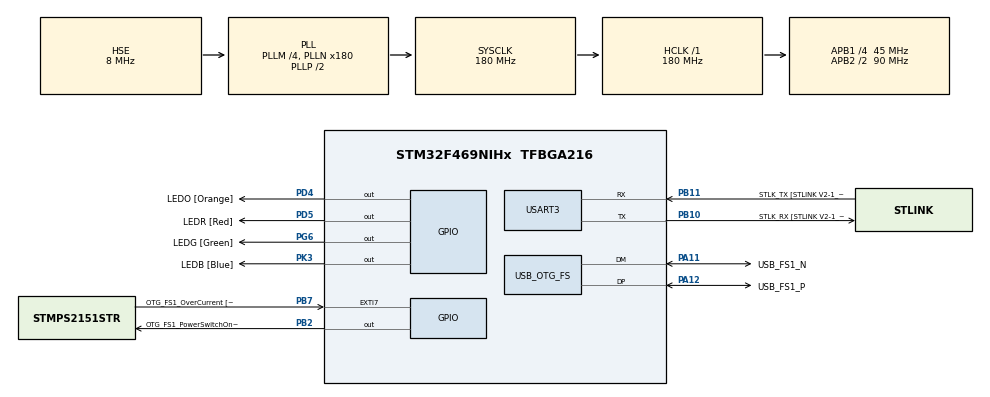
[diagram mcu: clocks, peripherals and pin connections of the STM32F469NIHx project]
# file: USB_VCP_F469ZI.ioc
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Mcu.Family=STM32F4
PA11.GPIO_Speed=GPIO_SPEED_FREQ_VERY_HIGH
USB_DEVICE.CLASS_NAME_FS=CDC
PK3.Signal=GPIO_Output
VP_SYS_VS_tim6.Mode=TIM6
RCC.CortexFreq_Value=180000000
PG6.Signal=GPIO_Output
RCC.PLLDSIIDF=DSI_PLL_IN_DIV2
PB10.GPIO_Speed=GPIO_SPEED_FREQ_VERY_HIGH
PB10.GPIO_PuPd=GPIO_PULLUP
PB10.Mode=Asynchronous
NVIC.TIM6_DAC_IRQn=true\:0\:0\:false\:false\:true\:false\:true
PA14.GPIO_Label=SWCLK
PG6.GPIO_Label=LEDG [Green]
PA11.Mode=Device_Only
PA0/WKUP.Signal=SYS_WKUP
PC14/OSC32_IN.Mode=LSE-External-Oscillator
USB_DEVICE.VirtualMode-CDC_FS=Cdc
PA11.GPIO_PuPd=GPIO_NOPULL
PB11.GPIO_PuPd=GPIO_PULLUP
PB7.GPIO_ModeDefaultEXTI=GPIO_MODE_IT_RISING
PB11.Signal=USART3_RX
RCC.SYSCLKSource=RCC_SYSCLKSOURCE_PLLCLK
ProjectManager.StackSize=0x400
PB11.GPIO_Speed=GPIO_SPEED_FREQ_VERY_HIGH
PA12.Signal=USB_OTG_FS_DP
PH0/OSC_IN.Mode=HSE-External-Oscillator
RCC.HCLKFreq_Value=180000000
PD4.Signal=GPIO_Output
RCC.APB2TimFreq_Value=180000000
PB2/BOOT1.GPIO_Label=OTG_FS1_PowerSwitchOn [STMPS2151STR_En]
PH1/OSC_OUT.Signal=RCC_OSC_OUT
RCC.AHBFreq_Value=180000000
RCC.HSE_VALUE=8000000
PG6.GPIO_PuPd=GPIO_NOPULL
PA14.Mode=Serial_Wire
PB2/BOOT1.GPIO_PuPd=GPIO_NOPULL
PD4.GPIO_ModeDefaultOutputPP=GPIO_MODE_OUTPUT_OD
PB7.Signal=GPXTI7
PK3.GPIO_ModeDefaultOutputPP=GPIO_MODE_OUTPUT_OD
PH1/OSC_OUT.Mode=HSE-External-Oscillator
PG6.GPIO_ModeDefaultOutputPP=GPIO_MODE_OUTPUT_OD
PB7.GPIO_Label=OTG_FS1_OverCurrent [STMPS2151STR_FAULT]
PB2/BOOT1.GPIO_ModeDefaultOutputPP=GPIO_MODE_OUTPUT_PP
Mcu.Package=TFBGA216
NVIC.TimeBase=TIM6_DAC_IRQn
PC14/OSC32_IN.Signal=RCC_OSC32_IN
PD5.GPIO_Label=LEDR [Red]
NVIC.OTG_FS_IRQn=true\:0\:0\:false\:false\:true\:true\:true
NVIC.TimeBaseIP=TIM6
USB_OTG_FS.VirtualMode=Device_Only
RCC.PLLSAIN=144
RCC.PLLSAIP=RCC_PLLSAIP_DIV6
PB2/BOOT1.GPIO_Speed=GPIO_SPEED_FREQ_LOW
RCC.APB2CLKDivider=RCC_HCLK_DIV2
RCC.PLLSAIQ=2
RCC.APB1TimFreq_Value=90000000
PD5.GPIO_Speed=GPIO_SPEED_FREQ_LOW
PB11.GPIO_Mode=GPIO_MODE_AF_PP
PA12.GPIO_PuPd=GPIO_NOPULL
PA12.GPIO_Speed=GPIO_SPEED_FREQ_VERY_HIGH
PG6.GPIO_Speed=GPIO_SPEED_FREQ_LOW
PB7.GPIO_PuPd=GPIO_NOPULL
USB_DEVICE.VirtualModeFS=Cdc_FS
PB11.GPIO_Label=STLK_TX [STLINK V2-1_U2_TX]
PA11.GPIO_Label=USB_FS1_N
PD5.Signal=GPIO_Output
RCC.APB1CLKDivider=RCC_HCLK_DIV4
PA12.GPIO_Label=USB_FS1_P
RCC.PLLSAIRDiv=RCC_PLLSAIDIVR_4
PA13.Signal=SYS_JTMS-SWDIO
PD4.GPIO_PuPd=GPIO_NOPULL
PB10.GPIO_Mode=GPIO_MODE_AF_PP
PB2/BOOT1.Signal=GPIO_Output
PB11.Mode=Asynchronous
ProjectManager.TargetToolchain=STM32CubeIDE
PB10.GPIO_Label=STLK_RX [STLINK V2-1_U2_RX]
VP_USB_DEVICE_VS_USB_DEVICE_CDC_FS.Mode=CDC_FS
RCC.USBFreq_Value=48000000
PA0/WKUP.Mode=SYS_WakeUp0
PB10.Signal=USART3_TX
RCC.USBCLockSelection=RCC_CLK48CLKSOURCE_PLLSAIP
PK3.GPIO_PuPd=GPIO_NOPULL
board=STM32F469I-DISCO
RCC.VCOOutputFreq_Value=360000000
PA12.GPIO_Mode=GPIO_MODE_AF_PP
PH0/OSC_IN.Signal=RCC_OSC_IN
RCC.APB2Freq_Value=90000000
PD4.GPIO_Label=LEDO [Orange]
PD4.GPIO_Speed=GPIO_SPEED_FREQ_LOW
RCC.PLLDSINDIV=125
PA0/WKUP.GPIO_Label=WAKEUP [B2]
PD5.GPIO_PuPd=GPIO_NOPULL
PA13.Mode=Serial_Wire
Mcu.Name=STM32F469NIHx
PA13.GPIO_Label=SWDIO
RCC.SYSCLKFreq_VALUE=180000000
PA12.Mode=Device_Only
USART3.VirtualMode=VM_ASYNC
PC15/OSC32_OUT.Mode=LSE-External-Oscillator
PA11.Signal=USB_OTG_FS_DM
PA14.Signal=SYS_JTCK-SWCLK
ProjectManager.HeapSize=0x200
PK3.GPIO_Label=LEDB [Blue]
RCC.PLLQ=6
NVIC.PriorityGroup=NVIC_PRIORITYGROUP_4
RCC.PLLR=6
RCC.PLLM=4
PK3.GPIO_Speed=GPIO_SPEED_FREQ_LOW
RCC.PLLN=180
PC15/OSC32_OUT.Signal=RCC_OSC32_OUT
PD5.GPIO_ModeDefaultOutputPP=GPIO_MODE_OUTPUT_OD
PA11.GPIO_Mode=GPIO_MODE_AF_PP
RCC.APB1Freq_Value=45000000

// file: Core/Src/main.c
/* USER CODE BEGIN Header */
/**
 ******************************************************************************
 * @file           : main.c
 * @brief          : Main program body
 ******************************************************************************
 * @attention
 *
 * <h2><center>&copy; Copyright (c) 2021 STMicroelectronics.
 * All rights reserved.</center></h2>
 *
 * This software component is licensed by ST under Ultimate Liberty license
 * SLA0044, the "License"; You may not use this file except in compliance with
 * the License. You may obtain a copy of the License at:
 *                             www.st.com/SLA0044
 *
 ******************************************************************************
 */
/* USER CODE END Header */
#include "main.h"
#include "usb_device.h"

/* USER CODE BEGIN Includes */
#include "usbd_cdc_if.h"
/* USER CODE END Includes */

/* USER CODE BEGIN PD */
#ifdef __GNUC__	//retarget printf to uart3
#define PUTCHAR_PROTOTYPE int __io_putchar(int ch)
#else
#define PUTCHAR_PROTOTYPE int fputc(int ch, FILE *f)
#endif
/* USER CODE END PD */

UART_HandleTypeDef huart3;

/* USER CODE BEGIN PV */
usbDatum usbStruct;	//defined in usbd_cdc_if.h
/* USER CODE END PV */

void SystemClock_Config(void);
static void MX_GPIO_Init(void);
static void MX_USART3_UART_Init(void);

int main(void) {

	/* MCU Configuration--------------------------------------------------------*/

	/* Reset of all peripherals, Initializes the Flash interface and the Systick. */
	HAL_Init();

	/* Configure the system clock */
	SystemClock_Config();

	/* Initialize all configured peripherals */
	MX_GPIO_Init();
	MX_USART3_UART_Init();
	MX_USB_DEVICE_Init();
	/* USER CODE BEGIN 2 */
	HAL_GPIO_WritePin(LEDG_GPIO_Port, LEDG_Pin, GPIO_PIN_SET);
	HAL_GPIO_WritePin(LEDR_GPIO_Port, LEDR_Pin, GPIO_PIN_SET);
	HAL_GPIO_WritePin(LEDB_GPIO_Port, LEDB_Pin, GPIO_PIN_SET);
	HAL_GPIO_WritePin(LEDO_GPIO_Port, LEDO_Pin, GPIO_PIN_SET);
	for (int i = 0; i < 10; i++) {
		HAL_GPIO_TogglePin(LEDG_GPIO_Port, LEDG_Pin);
		HAL_Delay(50);
	}
	HAL_Delay(1000);

//	sprintf((char*) usbStruct.txBuff,
//			"USB VCP Starting...\n	Compiled on: %s %s\n\n",
//			__DATE__, __TIME__);
	printf("USB VCP Starting...\n	Compiled on: %s %s\n\n",
	__DATE__, __TIME__);

//	printf((char*) usbStruct.txBuff);
//	CDC_Transmit_FS(usbStruct.txBuff, sizeof(usbStruct.txBuff));

	sprintf((char*) usbStruct.rxBuff, "help");
	uiStringHandler();

	usbStruct.rxLastIndex = 0;
	/* USER CODE END 2 */

	/* Infinite loop */
	while (1) {

		/* USER CODE BEGIN 3 */
		if (usbStruct.intFlag == 1) {
			uiStringHandler();
			HAL_GPIO_TogglePin(LEDG_GPIO_Port, LEDG_Pin);
//			CDC_Transmit_FS(usbStruct.rxBuff, (uint16_t) usbStruct.rxLen);
//			printf("%s\n", usbStruct.rxBuff);
			usbStruct.intFlag = 0;
			memset(usbStruct.rxBuff, '\0', usbStruct.rxLen);
			usbStruct.rxLastIndex = 0;
		}
	}
	/* USER CODE END 3 */
}

void SystemClock_Config(void) {
	RCC_OscInitTypeDef RCC_OscInitStruct = { 0 };
	RCC_ClkInitTypeDef RCC_ClkInitStruct = { 0 };
	RCC_PeriphCLKInitTypeDef PeriphClkInitStruct = { 0 };

	/** Configure the main internal regulator output voltage
	 */
	__HAL_RCC_PWR_CLK_ENABLE();
	__HAL_PWR_VOLTAGESCALING_CONFIG(PWR_REGULATOR_VOLTAGE_SCALE1);
	/** Initializes the RCC Oscillators according to the specified parameters
	 * in the RCC_OscInitTypeDef structure.
	 */
	RCC_OscInitStruct.OscillatorType = RCC_OSCILLATORTYPE_HSE;
	RCC_OscInitStruct.HSEState = RCC_HSE_ON;
	RCC_OscInitStruct.PLL.PLLState = RCC_PLL_ON;
	RCC_OscInitStruct.PLL.PLLSource = RCC_PLLSOURCE_HSE;
	RCC_OscInitStruct.PLL.PLLM = 4;
	RCC_OscInitStruct.PLL.PLLN = 180;
	RCC_OscInitStruct.PLL.PLLP = RCC_PLLP_DIV2;
	RCC_OscInitStruct.PLL.PLLQ = 6;
	RCC_OscInitStruct.PLL.PLLR = 6;
	if (HAL_RCC_OscConfig(&RCC_OscInitStruct) != HAL_OK) {
		Error_Handler();
	}
	/** Activate the Over-Drive mode
	 */
	if (HAL_PWREx_EnableOverDrive() != HAL_OK) {
		Error_Handler();
	}
	/** Initializes the CPU, AHB and APB buses clocks
	 */
	RCC_ClkInitStruct.ClockType = RCC_CLOCKTYPE_HCLK | RCC_CLOCKTYPE_SYSCLK
			| RCC_CLOCKTYPE_PCLK1 | RCC_CLOCKTYPE_PCLK2;
	RCC_ClkInitStruct.SYSCLKSource = RCC_SYSCLKSOURCE_PLLCLK;
	RCC_ClkInitStruct.AHBCLKDivider = RCC_SYSCLK_DIV1;
	RCC_ClkInitStruct.APB1CLKDivider = RCC_HCLK_DIV4;
	RCC_ClkInitStruct.APB2CLKDivider = RCC_HCLK_DIV2;

	if (HAL_RCC_ClockConfig(&RCC_ClkInitStruct, FLASH_LATENCY_5) != HAL_OK) {
		Error_Handler();
	}
	PeriphClkInitStruct.PeriphClockSelection = RCC_PERIPHCLK_CLK48;
	PeriphClkInitStruct.PLLSAI.PLLSAIN = 144;
	PeriphClkInitStruct.PLLSAI.PLLSAIP = RCC_PLLSAIP_DIV6;
	PeriphClkInitStruct.Clk48ClockSelection = RCC_CLK48CLKSOURCE_PLLSAIP;
	if (HAL_RCCEx_PeriphCLKConfig(&PeriphClkInitStruct) != HAL_OK) {
		Error_Handler();
	}
}

static void MX_USART3_UART_Init(void) {

	huart3.Instance = USART3;
	huart3.Init.BaudRate = 115200;
	huart3.Init.WordLength = UART_WORDLENGTH_8B;
	huart3.Init.StopBits = UART_STOPBITS_1;
	huart3.Init.Parity = UART_PARITY_NONE;
	huart3.Init.Mode = UART_MODE_TX_RX;
	huart3.Init.HwFlowCtl = UART_HWCONTROL_NONE;
	huart3.Init.OverSampling = UART_OVERSAMPLING_16;
	if (HAL_UART_Init(&huart3) != HAL_OK) {
		Error_Handler();
	}

}

static void MX_GPIO_Init(void) {
	GPIO_InitTypeDef GPIO_InitStruct = { 0 };

	/* GPIO Ports Clock Enable */
	__HAL_RCC_GPIOA_CLK_ENABLE();
	__HAL_RCC_GPIOB_CLK_ENABLE();
	__HAL_RCC_GPIOD_CLK_ENABLE();
	__HAL_RCC_GPIOK_CLK_ENABLE();
	__HAL_RCC_GPIOC_CLK_ENABLE();
	__HAL_RCC_GPIOH_CLK_ENABLE();
	__HAL_RCC_GPIOG_CLK_ENABLE();

	/*Configure GPIO pin Output Level */
	HAL_GPIO_WritePin(GPIOD, LEDR_Pin | LEDO_Pin, GPIO_PIN_RESET);

	/*Configure GPIO pin Output Level */
	HAL_GPIO_WritePin(LEDB_GPIO_Port, LEDB_Pin, GPIO_PIN_RESET);

	/*Configure GPIO pin Output Level */
	HAL_GPIO_WritePin(LEDG_GPIO_Port, LEDG_Pin, GPIO_PIN_RESET);

	/*Configure GPIO pin Output Level */
	HAL_GPIO_WritePin(OTG_FS1_PowerSwitchOn_GPIO_Port,
	OTG_FS1_PowerSwitchOn_Pin, GPIO_PIN_RESET);

	/*Configure GPIO pin : OTG_FS1_OverCurrent_Pin */
	GPIO_InitStruct.Pin = OTG_FS1_OverCurrent_Pin;
	GPIO_InitStruct.Mode = GPIO_MODE_IT_RISING;
	GPIO_InitStruct.Pull = GPIO_NOPULL;
	HAL_GPIO_Init(OTG_FS1_OverCurrent_GPIO_Port, &GPIO_InitStruct);

	/*Configure GPIO pins : LEDR_Pin LEDO_Pin */
	GPIO_InitStruct.Pin = LEDR_Pin | LEDO_Pin;
	GPIO_InitStruct.Mode = GPIO_MODE_OUTPUT_OD;
	GPIO_InitStruct.Pull = GPIO_NOPULL;
	GPIO_InitStruct.Speed = GPIO_SPEED_FREQ_LOW;
	HAL_GPIO_Init(GPIOD, &GPIO_InitStruct);

	/*Configure GPIO pin : LEDB_Pin */
	GPIO_InitStruct.Pin = LEDB_Pin;
	GPIO_InitStruct.Mode = GPIO_MODE_OUTPUT_OD;
	GPIO_InitStruct.Pull = GPIO_NOPULL;
	GPIO_InitStruct.Speed = GPIO_SPEED_FREQ_LOW;
	HAL_GPIO_Init(LEDB_GPIO_Port, &GPIO_InitStruct);

	/*Configure GPIO pin : LEDG_Pin */
	GPIO_InitStruct.Pin = LEDG_Pin;
	GPIO_InitStruct.Mode = GPIO_MODE_OUTPUT_OD;
	GPIO_InitStruct.Pull = GPIO_NOPULL;
	GPIO_InitStruct.Speed = GPIO_SPEED_FREQ_LOW;
	HAL_GPIO_Init(LEDG_GPIO_Port, &GPIO_InitStruct);

	/*Configure GPIO pin : OTG_FS1_PowerSwitchOn_Pin */
	GPIO_InitStruct.Pin = OTG_FS1_PowerSwitchOn_Pin;
	GPIO_InitStruct.Mode = GPIO_MODE_OUTPUT_PP;
	GPIO_InitStruct.Pull = GPIO_NOPULL;
	GPIO_InitStruct.Speed = GPIO_SPEED_FREQ_LOW;
	HAL_GPIO_Init(OTG_FS1_PowerSwitchOn_GPIO_Port, &GPIO_InitStruct);

}

/* USER CODE BEGIN 4 */
PUTCHAR_PROTOTYPE {	//retarget printf to uart3 AND USB VCP
	//UART printf for debugging
	CDC_Transmit_FS((uint8_t*) &ch, 1);
	return HAL_UART_Transmit(&huart3, (uint8_t*) &ch, 1, HAL_MAX_DELAY);
}

void uiStringHandler(void) {
	char *token;
//	printf("recv: %s\n", (char*) usbStruct.rxBuff);
	token = strtok((char*) usbStruct.rxBuff, " ");
	if (token != NULL) {
//		HELP CHECK
		if (!strcasecmp("help", (char*) usbStruct.rxBuff)) {
			token = strtok(NULL, " ");
			if (token != NULL) {
				printf("INVALID COMMAND!!\n\n");
			} else {
				printf("List of commands:\n");
				printf("\t\"HELP\" : list commands\n");
				printf("\t\"WHOAMI\" : Name of developer\n");
				printf("\t\"CDATE\" : Date of compilation\n");
				printf("\t\"CTIME\" : Time of compilation\n");
				printf("\t\"HALV\" : HAL version\n"); //HAL_GetHalVersion()
				printf("\t\"DEVID\" : Device ID\n\n"); //HAL_GetDEVID()
			}
		}
//		WHOAMI CHECK
		else if (!strcasecmp("WHOAMI", (char*) usbStruct.rxBuff)) {
			token = strtok(NULL, " ");
			if (token != NULL) {
				printf("INVALID COMMAND!!\n\n");
			} else {
				printf("\tI am Aditya Sehgal!\n\n");
			}
		}

//		CDATE CHECK
		else if (!strcasecmp("CDATE", (char*) usbStruct.rxBuff)) {
			token = strtok(NULL, " ");
			if (token != NULL) {
				printf("INVALID COMMAND!!\n\n");
			} else {
				printf("\tThis program was compiled on %s\n\n", __DATE__);
			}
		}

//		CTIME CHECK
		else if (!strcasecmp("CTIME", (char*) usbStruct.rxBuff)) {
			token = strtok(NULL, " ");
			if (token != NULL) {
				printf("INVALID COMMAND!!\n\n");
			} else {
				printf("\tThis program was compiled at %s\n\n", __TIME__);
			}
		}

//		HALV CHECK
		else if (!strcasecmp("HALV", (char*) usbStruct.rxBuff)) {
			token = strtok(NULL, " ");
			if (token != NULL) {
				printf("INVALID COMMAND!!\n\n");
			} else {
				printf("\tThis program is using HAL V: %ld\n\n",
						HAL_GetHalVersion());
			}
		}

//		HALV CHECK
		else if (!strcasecmp("DEVID", (char*) usbStruct.rxBuff)) {
			token = strtok(NULL, " ");
			if (token != NULL) {
				printf("INVALID COMMAND!!\n\n");
			} else {
				printf("\tDevice ID: %ld\n\n", HAL_GetDEVID());
			}
		}

//		Invalid command
		else {
			printf("INVALID COMMAND!!\n\n");
		}
	} else {
		printf("INVALID COMMAND!!\n\n");
	}
}
/* USER CODE END 4 */

void HAL_TIM_PeriodElapsedCallback(TIM_HandleTypeDef *htim) {
	if (htim->Instance == TIM6) {
		HAL_IncTick();
	}
}

void Error_Handler(void) {
	/* USER CODE BEGIN Error_Handler_Debug */
	/* User can add his own implementation to report the HAL error return state */
	__disable_irq();
	while (1) {
		HAL_GPIO_TogglePin(LEDR_GPIO_Port, LEDR_Pin);
		HAL_Delay(50);
	}
	/* USER CODE END Error_Handler_Debug */
}

/************************ (C) COPYRIGHT STMicroelectronics *****END OF FILE****/
